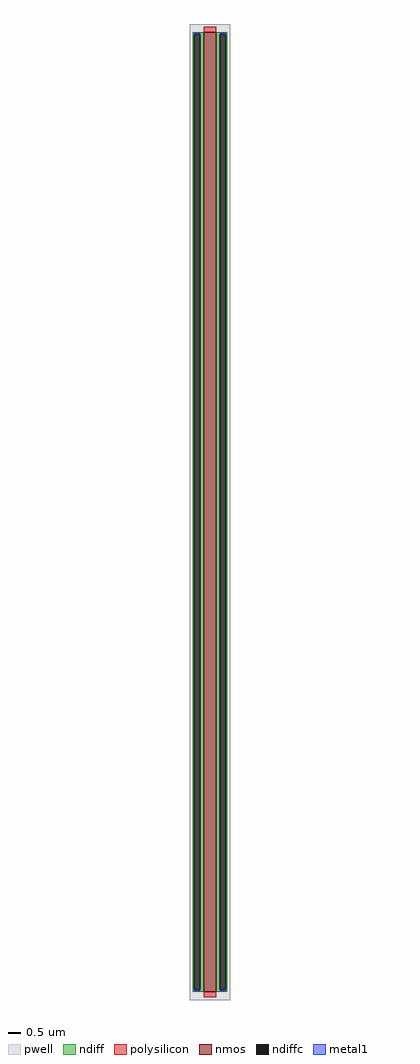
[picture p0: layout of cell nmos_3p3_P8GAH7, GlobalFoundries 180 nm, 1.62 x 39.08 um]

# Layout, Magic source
magic
tech gf180mcuC
magscale 1 10
<< pwell >>
rect -162 -3908 162 3908
<< nmos >>
rect -50 -3840 50 3840
<< ndiff >>
rect -138 3827 -50 3840
rect -138 -3827 -125 3827
rect -79 -3827 -50 3827
rect -138 -3840 -50 -3827
rect 50 3827 138 3840
rect 50 -3827 79 3827
rect 125 -3827 138 3827
rect 50 -3840 138 -3827
<< ndiffc >>
rect -125 -3827 -79 3827
rect 79 -3827 125 3827
<< polysilicon >>
rect -50 3840 50 3884
rect -50 -3884 50 -3840
<< metal1 >>
rect -125 3827 -79 3838
rect -125 -3838 -79 -3827
rect 79 3827 125 3838
rect 79 -3838 125 -3827
<< properties >>
string gencell nmos_3p3
string library gf180mcu
string parameters w 38.4 l 0.5 m 1 nf 1 diffcov 100 polycov 100 guard 0 glc 0 grc 0 gtc 0 gbc 0 tbcov 100 rlcov 100 topc 0 botc 0 poverlap 0 doverlap 1 lmin 0.28 wmin 0.22 full_metal 0 compatible {nmos_3p3 nmos_6p0 nmos_6p0_nat}
<< end >>
